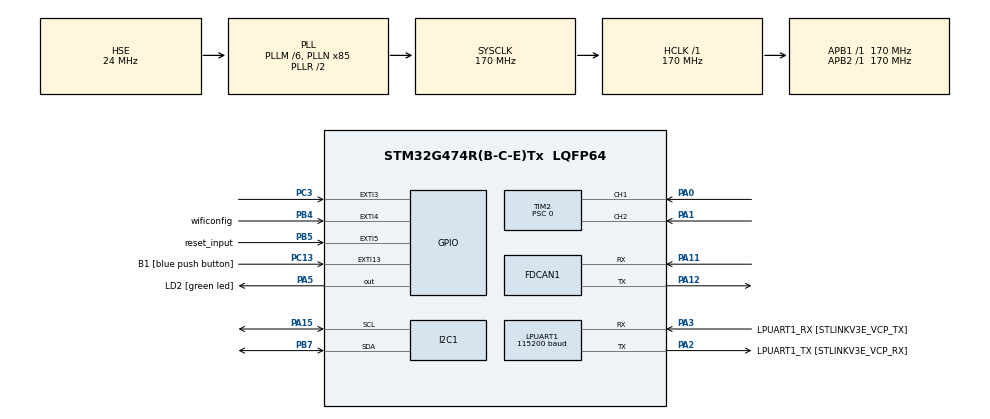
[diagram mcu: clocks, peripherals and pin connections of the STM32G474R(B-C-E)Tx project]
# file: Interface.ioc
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FDCAN1.AutoRetransmission=ENABLE
FDCAN1.CalculateBaudRateNominal=125000
FDCAN1.CalculateTimeBitNominal=8000
FDCAN1.CalculateTimeQuantumNominal=100.0
FDCAN1.DataSyncJumpWidth=12
FDCAN1.DataTimeSeg1=12
FDCAN1.DataTimeSeg2=12
FDCAN1.NominalPrescaler=17
FDCAN1.NominalSyncJumpWidth=13
FDCAN1.NominalTimeSeg1=39
FDCAN1.NominalTimeSeg2=40
FDCAN1.StdFiltersNbr=1
I2C1.Timing=0x40B285C2
LPUART1.BaudRate=115200
LPUART1.WordLength=UART_WORDLENGTH_8B
Mcu.Family=STM32G4
Mcu.Name=STM32G474R(B-C-E)Tx
Mcu.Package=LQFP64
NVIC.EXTI15_10_IRQn=true\:0\:0\:false\:false\:true\:true\:true\:true
NVIC.EXTI3_IRQn=true\:0\:0\:false\:false\:true\:true\:true\:true
NVIC.EXTI4_IRQn=true\:0\:0\:false\:false\:true\:true\:true\:true
NVIC.EXTI9_5_IRQn=true\:0\:0\:false\:false\:true\:true\:true\:true
NVIC.FDCAN1_IT0_IRQn=true\:0\:0\:false\:false\:true\:true\:true\:true
NVIC.FDCAN1_IT1_IRQn=true\:0\:0\:false\:false\:true\:true\:true\:true
NVIC.PriorityGroup=NVIC_PRIORITYGROUP_4
NVIC.TIM2_IRQn=true\:0\:0\:false\:false\:true\:true\:true\:true
PA0.Signal=S_TIM2_CH1
PA1.Signal=S_TIM2_CH2
PA11.Mode=FDCAN_Activate
PA11.Signal=FDCAN1_RX
PA12.Mode=FDCAN_Activate
PA12.Signal=FDCAN1_TX
PA13.GPIO_Label=T_SWDIO
PA13.Mode=Serial_Wire
PA13.Signal=SYS_JTMS-SWDIO
PA14.GPIO_Label=T_SWCLK
PA14.Mode=Serial_Wire
PA14.Signal=SYS_JTCK-SWCLK
PA15.Mode=I2C
PA15.Signal=I2C1_SCL
PA2.GPIO_Label=LPUART1_TX [STLINKV3E_VCP_RX]
PA2.Mode=Asynchronous
PA2.Signal=LPUART1_TX
PA3.GPIO_Label=LPUART1_RX [STLINKV3E_VCP_TX]
PA3.Mode=Asynchronous
PA3.Signal=LPUART1_RX
PA5.GPIO_Label=LD2 [green led]
PA5.Signal=GPIO_Output
PB3.GPIO_Label=T_SWO
PB3.Signal=SYS_JTDO-SWO
PB4.GPIO_Label=wificonfig
PB4.GPIO_ModeDefaultEXTI=GPIO_MODE_IT_FALLING
PB4.GPIO_PuPd=GPIO_PULLUP
PB4.Signal=GPXTI4
PB5.GPIO_Label=reset_input
PB5.GPIO_ModeDefaultEXTI=GPIO_MODE_IT_FALLING
PB5.GPIO_PuPd=GPIO_PULLDOWN
PB5.Signal=GPXTI5
PB7.Mode=I2C
PB7.Signal=I2C1_SDA
PC13.GPIO_Label=B1 [blue push button]
PC13.Signal=GPXTI13
PC14-OSC32_IN.Mode=LSE-External-Oscillator
PC14-OSC32_IN.Signal=RCC_OSC32_IN
PC15-OSC32_OUT.Mode=LSE-External-Oscillator
PC15-OSC32_OUT.Signal=RCC_OSC32_OUT
PC3.GPIO_ModeDefaultEXTI=GPIO_MODE_IT_RISING
PC3.GPIO_PuPd=GPIO_PULLUP
PC3.Signal=GPXTI3
PF0-OSC_IN.Mode=HSE-External-Oscillator
PF0-OSC_IN.Signal=RCC_OSC_IN
PF1-OSC_OUT.Mode=HSE-External-Oscillator
PF1-OSC_OUT.Signal=RCC_OSC_OUT
ProjectManager.HeapSize=0x200
ProjectManager.StackSize=0x400
ProjectManager.TargetToolchain=CMake
RCC.ADC12Freq_Value=170000000
RCC.ADC345Freq_Value=170000000
RCC.AHBFreq_Value=170000000
RCC.APB1Freq_Value=170000000
RCC.APB1TimFreq_Value=170000000
RCC.APB2Freq_Value=170000000
RCC.APB2TimFreq_Value=170000000
RCC.CortexFreq_Value=170000000
RCC.EXTERNAL_CLOCK_VALUE=12288000
RCC.HCLKFreq_Value=170000000
RCC.HSE_VALUE=24000000
RCC.HSI48_VALUE=48000000
RCC.HSI_VALUE=16000000
RCC.PLLM=RCC_PLLM_DIV6
RCC.PLLN=85
RCC.PLLSourceVirtual=RCC_PLLSOURCE_HSE
RCC.RTCClockSelection=RCC_RTCCLKSOURCE_LSE
RCC.SYSCLKFreq_VALUE=170000000
RCC.SYSCLKSource=RCC_SYSCLKSOURCE_PLLCLK
RCC.USBFreq_Value=170000000
RCC.VCOOutputFreq_Value=340000000
SH.S_TIM2_CH1.0=TIM2_CH1,Encoder_Interface
SH.S_TIM2_CH2.0=TIM2_CH2,Encoder_Interface
TIM2.AutoReloadPreload=TIM_AUTORELOAD_PRELOAD_ENABLE
TIM2.EncoderMode=TIM_ENCODERMODE_TI12
TIM2.PeriodNoDither=65536
TIM2.Prescaler=0
VP_SYS_VS_DBSignals.Mode=DisableDeadBatterySignals
board=NUCLEO-G474RE

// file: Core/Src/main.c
/* USER CODE BEGIN Header */
/**
  ******************************************************************************
  * @file           : main.c
  * @brief          : Main program body
  ******************************************************************************
  * @attention
  *
  * Copyright (c) 2023 STMicroelectronics.
  * All rights reserved.
  *
  * This software is licensed under terms that can be found in the LICENSE file
  * in the root directory of this software component.
  * If no LICENSE file comes with this software, it is provided AS-IS.
  *
  ******************************************************************************
  */
/* USER CODE END Header */
#include "main.h"

/* USER CODE BEGIN Includes */
#include "stdbool.h"
#include "i2c-lcd.h"
#include "ez-soc.h"
#include <DataFrame.h>
#include <CANparser/CANparser.h>
#include <stdio.h>
#include <string.h>
#include "propeller_efficiency.h"
/* USER CODE END Includes */

FDCAN_HandleTypeDef hfdcan1;

I2C_HandleTypeDef hi2c1;

UART_HandleTypeDef hlpuart1;

TIM_HandleTypeDef htim2;

/* USER CODE BEGIN PV */

uint8_t TxData[8];
FDCAN_TxHeaderTypeDef screenHeader;
FDCAN_TxHeaderTypeDef TelemetryReset;
FDCAN_TxHeaderTypeDef WiFiConfigModeControl;
FDCAN_RxHeaderTypeDef RxHeader;

DataFrame data;

// I/O
#define menuItems 2
int menuSelect = 0;
uint32_t counter = 0;

bool triggerReset = false;

bool blockbtn = false;
#define debounceTime 200
uint32_t lastPress = 0;

//wifiConfig button
uint8_t requestWifiConfigMode = false;
bool sendRequestWifiConfigMode = false;

bool blockWifiBtn = false;
#define wifiDebounceTime 500
uint32_t lastWifiPress = 0;

unsigned long lastRefresh = 0;
char screenStr[81];
int screenCharSize = 0;
/* USER CODE END PV */

void SystemClock_Config(void);
static void MX_GPIO_Init(void);
static void MX_LPUART1_UART_Init(void);
static void MX_TIM2_Init(void);
static void MX_I2C1_Init(void);
static void MX_FDCAN1_Init(void);
/* USER CODE BEGIN PFP */

void drawDataScreen(int screencode);

void HAL_FDCAN_RxFifo0Callback(FDCAN_HandleTypeDef *hfdcan, uint32_t RxFifo0ITs) {
	uint8_t RxData[8];
	HAL_FDCAN_GetRxMessage(hfdcan, FDCAN_RX_FIFO0, &RxHeader, RxData);
	if (RxHeader.Identifier == 0x753) {
		requestWifiConfigMode = 0;
	}
	CAN_parseMessage(RxHeader.Identifier, RxData, &data, HAL_GetTick());
}

void toggleWifiConfigMode(FDCAN_HandleTypeDef* hfdcan1, uint8_t requestWifiConfigMode) {
	uint8_t txBuf[8] = {};
	txBuf[0] = requestWifiConfigMode;
	HAL_FDCAN_AddMessageToTxFifoQ(hfdcan1, &WiFiConfigModeControl, txBuf);
}

void HAL_TIM_IC_CaptureCallback(TIM_HandleTypeDef *htim) {
	// menuSelect = (__HAL_TIM_GET_COUNTER(htim) / 4) % menuItems;
	// drawDataScreen(menuSelect);
}

void HAL_GPIO_EXTI_Callback(uint16_t GPIO_PIN) {
	if (GPIO_PIN == GPIO_PIN_3 && !blockbtn ) {
		counter++;
		blockbtn = true;
	}
    if(GPIO_PIN == GPIO_PIN_4 && !blockWifiBtn) {
    	sendRequestWifiConfigMode = true;
    	// if esp32 is not in wifiprovisionmode, send signal to start, otherwise send cancel signal
    	if ((data.esp.status & 0b00111000) != 8)	requestWifiConfigMode = 1;
    	else										requestWifiConfigMode = 2;
		blockWifiBtn = true;
    }
    if(GPIO_PIN == GPIO_PIN_5) {
    	triggerReset = true;
    }
}

//
// chooses a datasource for value based on a priority and if time since last msg has succeeded,
// source 1 has priority over source 2
//
// @param source1, 		value of datasource with 1st priority
// @param timeSource1, 	time of last_msg from datasource with 1st priority
// @param source2, 		value of datasource with 2nd priority
// @param timeSource2, 	time of last_msg from datasource with 2nd priority
// @returns, value from the chosen datasource
//
float chooseDataSource(float source1, uint32_t timeSource1, float source2, uint32_t timeSource2) {
	//if lastMsg was less than 3s ago, return dataSource value
	if ((HAL_GetTick() - timeSource1) < 3000) {
		return source1;
	} else if ((HAL_GetTick() - timeSource2) < 3000){
		return  source2;
	} else {
		return -1;
	}
}

float float_overflowCheck(float val, float replace) {
	if (val > replace) {
		return val = replace;
	}
	else return val;
}

uint8_t uint8_overflowCheck(uint8_t val, uint8_t replace) {
	if (val > replace) {
		return val = replace;
	}
	else return val;
}

uint16_t uint16_overflowCheck(uint16_t val, uint16_t replace) {
	if (val > replace) {
		return val = replace;
	}
	else return val;
}

int _write(int file, char *ptr, int len)
{
  /* Implement your write code here, this is used by puts and printf for example */
  int i=0;
  for(i=0 ; i<len ; i++)
    ITM_SendChar((*ptr++));
  return len;
}
/* USER CODE END PFP */

/* USER CODE BEGIN 0 */
void mainScreen() {
	float Vbat = chooseDataSource(data.bms.battery_voltage, data.bms.last_msg, data.motor.battery_voltage, data.motor.last_msg);

	float Pmotor = (data.motor.battery_voltage * data.motor.battery_current);
	float Pzon = Vbat*data.bms.charge_current;

	float beukerEfficiency 		= calc_propeller_efficiency(Pmotor, data.motor.rpm, data.gps.speed, PROP_BEUKER);
	float werkpaardEfficiency 	= calc_propeller_efficiency(Pmotor, data.motor.rpm, data.gps.speed, PROP_WERKPAARD);

//	float TcellAvg = (data.bms.cell_temp[0] + data.bms.cell_temp[1] + data.bms.cell_temp[2] + data.bms.cell_temp[3]) / 4;
//	screenCharSize += sprintf(screenStr,
//		"Pin %5i Pou %6.0fRPM %16.2fVEL%6.2f Vba %6.2fTmc%6.2f WIFI    %02i",
//		uint16_overflowCheck(Pzon, (uint16_t) 999999),
//		float_overflowCheck(Pmotor, 999999),
//		float_overflowCheck(data.motor.rpm, 99999999.99),
//		float_overflowCheck(data.gps.speed, 999.99),
//		float_overflowCheck(data.motor.battery_voltage, 999.99),
//		float_overflowCheck(data.motor.controller_temp, 999.99),
//		uint8_overflowCheck(data.esp.status, 99)
//	);
	screenCharSize = 0;
	if (HAL_GetTick() - data.bms.last_msg > 5000)
		screenCharSize += sprintf(screenStr, "Pin     - ");
	else
		screenCharSize += sprintf(screenStr, "Pin %5i ", uint16_overflowCheck(Pzon, (uint16_t) 999999));

	if (HAL_GetTick() - data.motor.last_msg > 5000)
		screenCharSize += sprintf(screenStr + screenCharSize, "Pou      -");
	else
		screenCharSize += sprintf(screenStr + screenCharSize, "Pou %6.0f", float_overflowCheck(Pmotor, 999999));

	if ((HAL_GetTick() - data.motor.last_msg > 5000) || (HAL_GetTick() - data.gps.last_msg > 5000))
		screenCharSize += sprintf(screenStr + screenCharSize, "EFF:--/-- ");
	else
		screenCharSize += sprintf(screenStr + screenCharSize, "EFF:%02.0f/%02.0f ",
			float_overflowCheck(werkpaardEfficiency*100, 99),
			float_overflowCheck(beukerEfficiency*100, 99)
		);

	if (HAL_GetTick() - data.motor.last_msg > 5000)
		screenCharSize += sprintf(screenStr + screenCharSize, "RPM ------");
	else
		screenCharSize += sprintf(screenStr + screenCharSize, "RPM %6.0f", float_overflowCheck(data.motor.rpm, 999999));

	if (HAL_GetTick() - data.gps.last_msg > 5000)
		screenCharSize += sprintf(screenStr + screenCharSize, "VEL     - ");
	else
		screenCharSize += sprintf(screenStr + screenCharSize, "VEL%6.2f ", float_overflowCheck(data.gps.speed, 999.99f));

	if ((HAL_GetTick() - data.motor.last_msg > 5000) && (HAL_GetTick() - data.bms.last_msg > 5000))
		screenCharSize += sprintf(screenStr + screenCharSize, "SOC      -");
	else
		screenCharSize += sprintf(screenStr + screenCharSize, "SOC%7.2f", float_overflowCheck(calculateSOC(Vbat), 99.99f));

	if ((HAL_GetTick() - data.motor.last_msg > 5000) && (HAL_GetTick() - data.bms.last_msg > 5000))
		screenCharSize += sprintf(screenStr + screenCharSize, "Vba     - ");
	else
		screenCharSize += sprintf(screenStr + screenCharSize, "Vba %5.2f ", float_overflowCheck(Vbat, 99.99f));

	if (HAL_GetTick() - data.esp.last_msg > 5000)
		screenCharSize += sprintf(screenStr + screenCharSize, "WIFI     -");
	else
		screenCharSize += sprintf(screenStr + screenCharSize, "WIFI   %03u", uint8_overflowCheck(data.esp.status, 255));

	for (int i = 0; i < screenCharSize; i++) {
		lcd_send_data(screenStr[i]);
	}
	for (int i = screenCharSize; i < 80; i++) {
		lcd_send_data(' ');
	}
}

void statusScreen() {
	//format, numbers give the max digits allowed
	//S = state, W = warning, F = failure
	//motor:W (2) F (7)
	//mppt:	S (1) F (3)
	//fix (1) antenna (1)
	//WiFi (1) time (5)
	uint8_t seconds = (int) (data.mtu.unixTime % 60);
	screenCharSize = sprintf(screenStr,
		"motor:W %2i F %7ifix %2i %4 antenna %imppt :S %2i ERR %5iWiFi %i %3  time %4i",
		uint8_overflowCheck(data.motor.warning, (uint8_t) 99),
		uint8_overflowCheck(data.motor.failures, (uint8_t) 9999999),
		uint8_overflowCheck(data.gps.fix, (uint8_t) 9),
		uint8_overflowCheck(data.gps.antenna, (uint8_t) 9),
		uint8_overflowCheck(data.mppt.cs, (uint8_t) 9),
		uint8_overflowCheck(data.mppt.error, (uint8_t) 999),
		uint8_overflowCheck(data.esp.status, (uint8_t) 99),
		seconds
	);
	for (int i = 0; i < screenCharSize; i++) {
		lcd_send_data(screenStr[i]);
	}
}

void batteryStatisticsScreen() {
	data.bms.max_cel_voltage = data.bms.cell_voltage[0];
	data.bms.min_cel_voltage = data.bms.cell_voltage[0];
	for (int i = 0; i < 14; i++) {
		float currentcellvoltage = data.bms.cell_voltage[i];
		if (currentcellvoltage > data.bms.max_cel_voltage) {
			data.bms.max_cel_voltage = currentcellvoltage;
		}
		if (currentcellvoltage < data.bms.min_cel_voltage) {
			data.bms.min_cel_voltage = currentcellvoltage;
		}
	}
//	float TcellAvg = (data.bms.cell_temp[0] + data.bms.cell_temp[1] + data.bms.cell_temp[2] + data.bms.cell_temp[3]) / 4;
	screenCharSize = sprintf(screenStr,
		"Vbat %2.2f  Cbat %3.0fVmin %1.3fVmax %1.3fCharge %3.0f%10 Temp %3.0f/%3.0f/%3.0f/%3.0f",
		float_overflowCheck(data.bms.battery_voltage, 99.99),
		float_overflowCheck(data.bms.charge_current, 99.99),
		float_overflowCheck(data.bms.max_cel_voltage, 9.999),
		float_overflowCheck(data.bms.min_cel_voltage, 9.999),
		float_overflowCheck(data.bms.battery_current, 99.99),
		float_overflowCheck(data.bms.cell_temp[0], 199.99),
		float_overflowCheck(data.bms.cell_temp[1], 199.99),
		float_overflowCheck(data.bms.cell_temp[2], 199.99),
		float_overflowCheck(data.bms.cell_temp[3], 199.99)
	);
	for (int i = 0; i < screenCharSize; i++) {
		lcd_send_data(screenStr[i]);
	}
	for (int i = screenCharSize; i < 80; i++) {
		lcd_send_data(' ');
	}
}

void wifiConfigModeScreen() {
	screenCharSize = sprintf(screenStr, "- Wifi Setup Mode - Hi-Horizon TelemetryConnect to HotSpot: To send new config");
	for (int i = 0; i < screenCharSize; i++) {
		lcd_send_data(screenStr[i]);
	}
	//clear the rest of the chars
	for (int i = 0; i <  80 - screenCharSize; i++) {
		lcd_send_data(' ');
	}
}

void drawDataScreen(int screencode) {
  lcd_send_cmd (0x80|0x00);
  switch (screencode) {
    case 0:
    	mainScreen();
    	break;
    case 1:
    	statusScreen();
    	break;
    case 2:
    	wifiConfigModeScreen();
    	break;
  }
}
/* USER CODE END 0 */

int main(void)
{

  /* MCU Configuration--------------------------------------------------------*/

  /* Reset of all peripherals, Initializes the Flash interface and the Systick. */
  HAL_Init();

  /* Configure the system clock */
  SystemClock_Config();

  /* Initialize all configured peripherals */
  MX_GPIO_Init();
  MX_LPUART1_UART_Init();
  MX_TIM2_Init();
  MX_I2C1_Init();
  MX_FDCAN1_Init();
  /* USER CODE BEGIN 2 */

  screenHeader.Identifier 	= 0x731;
  screenHeader.IdType 		= FDCAN_STANDARD_ID;
  screenHeader.TxFrameType 	= FDCAN_DATA_FRAME;
  screenHeader.DataLength 	= FDCAN_DLC_BYTES_8;
  screenHeader.FDFormat		= FDCAN_CLASSIC_CAN;

  WiFiConfigModeControl.Identifier 		= 0x754;
  WiFiConfigModeControl.IdType 			= FDCAN_STANDARD_ID;
  WiFiConfigModeControl.TxFrameType 	= FDCAN_DATA_FRAME;
  WiFiConfigModeControl.DataLength 		= FDCAN_DLC_BYTES_8;
  WiFiConfigModeControl.FDFormat		= FDCAN_CLASSIC_CAN;

  TelemetryReset.Identifier 	= 0x100;
  TelemetryReset.IdType 		= FDCAN_STANDARD_ID;
  TelemetryReset.TxFrameType 	= FDCAN_DATA_FRAME;
  TelemetryReset.DataLength 	= FDCAN_DLC_BYTES_0;
  TelemetryReset.FDFormat		= FDCAN_CLASSIC_CAN;

  lcd_init();
  HAL_TIM_Encoder_Start_IT(&htim2, TIM_CHANNEL_ALL);

  HAL_FDCAN_Start(&hfdcan1);

   //activates interrupt for a new can Frame
  HAL_FDCAN_ActivateNotification(&hfdcan1, FDCAN_IT_RX_FIFO0_NEW_MESSAGE, 0);

  data.mppt.power = (uint16_t) 65535;
  data.gps.speed = 9999999;
  data.motor.rpm = 9999999;
  data.motor.battery_voltage = 9999999;
  data.motor.battery_current = 9999999;
  data.motor.controller_temp = (uint8_t) 255;
  data.bms.cells_temp = 9999999;

  data.bms.battery_voltage = 99999999;
  data.bms.charge_current = 9999999;
  data.bms.cell_temp[0] = 9999999;
  data.bms.cell_temp[1] = 9999999;
  data.bms.cell_temp[2] = 9999999;
  data.bms.cell_temp[3] = 9999999;

  data.esp.status = 99;

  data.bms.last_msg = -5000;
  data.motor.last_msg = -5000;
  data.gps.last_msg = -5000;
  data.esp.last_msg = -5000;
  /* USER CODE END 2 */

  /* Infinite loop */
  while (1)
  {

    /* USER CODE BEGIN 3 */
	if (HAL_GetTick() - lastPress > debounceTime) {
		blockbtn = false;
		lastPress = HAL_GetTick();
	}

	if (HAL_GetTick() - lastWifiPress > wifiDebounceTime) {
		blockWifiBtn = false;
		lastWifiPress = HAL_GetTick();
	}

	if (triggerReset) {
    	uint8_t txBuf[8] = {};
    	HAL_FDCAN_AddMessageToTxFifoQ(&hfdcan1, &TelemetryReset, txBuf);
    	HAL_Delay(500);
    	NVIC_SystemReset();
	}

	if (HAL_GetTick() - lastRefresh > 1000L) {
		if (requestWifiConfigMode != 0)
		{
			toggleWifiConfigMode(&hfdcan1, requestWifiConfigMode);
			requestWifiConfigMode = 0;
		}

		// if (requestWifiConfigMode == 1) drawDataScreen(2);
		// else 					   drawDataScreen(menuSelect);
		drawDataScreen(menuSelect);
		lastRefresh = HAL_GetTick();
		//send screen status through CAN
		int32_t ind = 0;
		buffer_append_uint8(TxData, 0, &ind); //status
		buffer_append_uint8(TxData, 0, &ind); //fans
		buffer_append_uint8(TxData, (uint8_t) requestWifiConfigMode, &ind); //wifiSetup

		HAL_FDCAN_AddMessageToTxFifoQ(&hfdcan1, &screenHeader, TxData);
	}
  }
  /* USER CODE END 3 */
}

void SystemClock_Config(void)
{
  RCC_OscInitTypeDef RCC_OscInitStruct = {0};
  RCC_ClkInitTypeDef RCC_ClkInitStruct = {0};

  /** Configure the main internal regulator output voltage
  */
  HAL_PWREx_ControlVoltageScaling(PWR_REGULATOR_VOLTAGE_SCALE1_BOOST);

  /** Initializes the RCC Oscillators according to the specified parameters
  * in the RCC_OscInitTypeDef structure.
  */
  RCC_OscInitStruct.OscillatorType = RCC_OSCILLATORTYPE_HSE;
  RCC_OscInitStruct.HSEState = RCC_HSE_ON;
  RCC_OscInitStruct.PLL.PLLState = RCC_PLL_ON;
  RCC_OscInitStruct.PLL.PLLSource = RCC_PLLSOURCE_HSE;
  RCC_OscInitStruct.PLL.PLLM = RCC_PLLM_DIV6;
  RCC_OscInitStruct.PLL.PLLN = 85;
  RCC_OscInitStruct.PLL.PLLP = RCC_PLLP_DIV2;
  RCC_OscInitStruct.PLL.PLLQ = RCC_PLLQ_DIV2;
  RCC_OscInitStruct.PLL.PLLR = RCC_PLLR_DIV2;
  if (HAL_RCC_OscConfig(&RCC_OscInitStruct) != HAL_OK)
  {
    Error_Handler();
  }

  /** Initializes the CPU, AHB and APB buses clocks
  */
  RCC_ClkInitStruct.ClockType = RCC_CLOCKTYPE_HCLK|RCC_CLOCKTYPE_SYSCLK
                              |RCC_CLOCKTYPE_PCLK1|RCC_CLOCKTYPE_PCLK2;
  RCC_ClkInitStruct.SYSCLKSource = RCC_SYSCLKSOURCE_PLLCLK;
  RCC_ClkInitStruct.AHBCLKDivider = RCC_SYSCLK_DIV1;
  RCC_ClkInitStruct.APB1CLKDivider = RCC_HCLK_DIV1;
  RCC_ClkInitStruct.APB2CLKDivider = RCC_HCLK_DIV1;

  if (HAL_RCC_ClockConfig(&RCC_ClkInitStruct, FLASH_LATENCY_4) != HAL_OK)
  {
    Error_Handler();
  }
}

static void MX_FDCAN1_Init(void)
{

  hfdcan1.Instance = FDCAN1;
  hfdcan1.Init.ClockDivider = FDCAN_CLOCK_DIV1;
  hfdcan1.Init.FrameFormat = FDCAN_FRAME_CLASSIC;
  hfdcan1.Init.Mode = FDCAN_MODE_NORMAL;
  hfdcan1.Init.AutoRetransmission = ENABLE;
  hfdcan1.Init.TransmitPause = DISABLE;
  hfdcan1.Init.ProtocolException = DISABLE;
  hfdcan1.Init.NominalPrescaler = 17;
  hfdcan1.Init.NominalSyncJumpWidth = 13;
  hfdcan1.Init.NominalTimeSeg1 = 39;
  hfdcan1.Init.NominalTimeSeg2 = 40;
  hfdcan1.Init.DataPrescaler = 1;
  hfdcan1.Init.DataSyncJumpWidth = 12;
  hfdcan1.Init.DataTimeSeg1 = 12;
  hfdcan1.Init.DataTimeSeg2 = 12;
  hfdcan1.Init.StdFiltersNbr = 1;
  hfdcan1.Init.ExtFiltersNbr = 0;
  hfdcan1.Init.TxFifoQueueMode = FDCAN_TX_FIFO_OPERATION;
  if (HAL_FDCAN_Init(&hfdcan1) != HAL_OK)
  {
    Error_Handler();
  }

}

static void MX_I2C1_Init(void)
{

  hi2c1.Instance = I2C1;
  hi2c1.Init.Timing = 0x40B285C2;
  hi2c1.Init.OwnAddress1 = 0;
  hi2c1.Init.AddressingMode = I2C_ADDRESSINGMODE_7BIT;
  hi2c1.Init.DualAddressMode = I2C_DUALADDRESS_DISABLE;
  hi2c1.Init.OwnAddress2 = 0;
  hi2c1.Init.OwnAddress2Masks = I2C_OA2_NOMASK;
  hi2c1.Init.GeneralCallMode = I2C_GENERALCALL_DISABLE;
  hi2c1.Init.NoStretchMode = I2C_NOSTRETCH_DISABLE;
  if (HAL_I2C_Init(&hi2c1) != HAL_OK)
  {
    Error_Handler();
  }

  /** Configure Analogue filter
  */
  if (HAL_I2CEx_ConfigAnalogFilter(&hi2c1, I2C_ANALOGFILTER_ENABLE) != HAL_OK)
  {
    Error_Handler();
  }

  /** Configure Digital filter
  */
  if (HAL_I2CEx_ConfigDigitalFilter(&hi2c1, 0) != HAL_OK)
  {
    Error_Handler();
  }

}

static void MX_LPUART1_UART_Init(void)
{

  hlpuart1.Instance = LPUART1;
  hlpuart1.Init.BaudRate = 115200;
  hlpuart1.Init.WordLength = UART_WORDLENGTH_8B;
  hlpuart1.Init.StopBits = UART_STOPBITS_1;
  hlpuart1.Init.Parity = UART_PARITY_NONE;
  hlpuart1.Init.Mode = UART_MODE_TX_RX;
  hlpuart1.Init.HwFlowCtl = UART_HWCONTROL_NONE;
  hlpuart1.Init.OneBitSampling = UART_ONE_BIT_SAMPLE_DISABLE;
  hlpuart1.Init.ClockPrescaler = UART_PRESCALER_DIV1;
  hlpuart1.AdvancedInit.AdvFeatureInit = UART_ADVFEATURE_NO_INIT;
  if (HAL_UART_Init(&hlpuart1) != HAL_OK)
  {
    Error_Handler();
  }
  if (HAL_UARTEx_SetTxFifoThreshold(&hlpuart1, UART_TXFIFO_THRESHOLD_1_8) != HAL_OK)
  {
    Error_Handler();
  }
  if (HAL_UARTEx_SetRxFifoThreshold(&hlpuart1, UART_RXFIFO_THRESHOLD_1_8) != HAL_OK)
  {
    Error_Handler();
  }
  if (HAL_UARTEx_DisableFifoMode(&hlpuart1) != HAL_OK)
  {
    Error_Handler();
  }

}

static void MX_TIM2_Init(void)
{

  TIM_Encoder_InitTypeDef sConfig = {0};
  TIM_MasterConfigTypeDef sMasterConfig = {0};

  htim2.Instance = TIM2;
  htim2.Init.Prescaler = 0;
  htim2.Init.CounterMode = TIM_COUNTERMODE_UP;
  htim2.Init.Period = 65536;
  htim2.Init.ClockDivision = TIM_CLOCKDIVISION_DIV1;
  htim2.Init.AutoReloadPreload = TIM_AUTORELOAD_PRELOAD_ENABLE;
  sConfig.EncoderMode = TIM_ENCODERMODE_TI12;
  sConfig.IC1Polarity = TIM_ICPOLARITY_RISING;
  sConfig.IC1Selection = TIM_ICSELECTION_DIRECTTI;
  sConfig.IC1Prescaler = TIM_ICPSC_DIV1;
  sConfig.IC1Filter = 0;
  sConfig.IC2Polarity = TIM_ICPOLARITY_RISING;
  sConfig.IC2Selection = TIM_ICSELECTION_DIRECTTI;
  sConfig.IC2Prescaler = TIM_ICPSC_DIV1;
  sConfig.IC2Filter = 0;
  if (HAL_TIM_Encoder_Init(&htim2, &sConfig) != HAL_OK)
  {
    Error_Handler();
  }
  sMasterConfig.MasterOutputTrigger = TIM_TRGO_RESET;
  sMasterConfig.MasterSlaveMode = TIM_MASTERSLAVEMODE_DISABLE;
  if (HAL_TIMEx_MasterConfigSynchronization(&htim2, &sMasterConfig) != HAL_OK)
  {
    Error_Handler();
  }

}

static void MX_GPIO_Init(void)
{
  GPIO_InitTypeDef GPIO_InitStruct = {0};

  /* GPIO Ports Clock Enable */
  __HAL_RCC_GPIOC_CLK_ENABLE();
  __HAL_RCC_GPIOF_CLK_ENABLE();
  __HAL_RCC_GPIOA_CLK_ENABLE();
  __HAL_RCC_GPIOB_CLK_ENABLE();

  /*Configure GPIO pin Output Level */
  HAL_GPIO_WritePin(LD2_GPIO_Port, LD2_Pin, GPIO_PIN_RESET);

  /*Configure GPIO pin : B1_Pin */
  GPIO_InitStruct.Pin = B1_Pin;
  GPIO_InitStruct.Mode = GPIO_MODE_IT_RISING;
  GPIO_InitStruct.Pull = GPIO_NOPULL;
  HAL_GPIO_Init(B1_GPIO_Port, &GPIO_InitStruct);

  /*Configure GPIO pin : PC3 */
  GPIO_InitStruct.Pin = GPIO_PIN_3;
  GPIO_InitStruct.Mode = GPIO_MODE_IT_RISING;
  GPIO_InitStruct.Pull = GPIO_PULLUP;
  HAL_GPIO_Init(GPIOC, &GPIO_InitStruct);

  /*Configure GPIO pin : LD2_Pin */
  GPIO_InitStruct.Pin = LD2_Pin;
  GPIO_InitStruct.Mode = GPIO_MODE_OUTPUT_PP;
  GPIO_InitStruct.Pull = GPIO_NOPULL;
  GPIO_InitStruct.Speed = GPIO_SPEED_FREQ_LOW;
  HAL_GPIO_Init(LD2_GPIO_Port, &GPIO_InitStruct);

  /*Configure GPIO pin : wificonfig_Pin */
  GPIO_InitStruct.Pin = wificonfig_Pin;
  GPIO_InitStruct.Mode = GPIO_MODE_IT_FALLING;
  GPIO_InitStruct.Pull = GPIO_PULLUP;
  HAL_GPIO_Init(wificonfig_GPIO_Port, &GPIO_InitStruct);

  /*Configure GPIO pin : reset_input_Pin */
  GPIO_InitStruct.Pin = reset_input_Pin;
  GPIO_InitStruct.Mode = GPIO_MODE_IT_FALLING;
  GPIO_InitStruct.Pull = GPIO_PULLDOWN;
  HAL_GPIO_Init(reset_input_GPIO_Port, &GPIO_InitStruct);

  /* EXTI interrupt init*/
  HAL_NVIC_SetPriority(EXTI3_IRQn, 0, 0);
  HAL_NVIC_EnableIRQ(EXTI3_IRQn);

  HAL_NVIC_SetPriority(EXTI4_IRQn, 0, 0);
  HAL_NVIC_EnableIRQ(EXTI4_IRQn);

  HAL_NVIC_SetPriority(EXTI9_5_IRQn, 0, 0);
  HAL_NVIC_EnableIRQ(EXTI9_5_IRQn);

  HAL_NVIC_SetPriority(EXTI15_10_IRQn, 0, 0);
  HAL_NVIC_EnableIRQ(EXTI15_10_IRQn);

}

void Error_Handler(void)
{
  __disable_irq();
  while (1)
  {
  }
}
